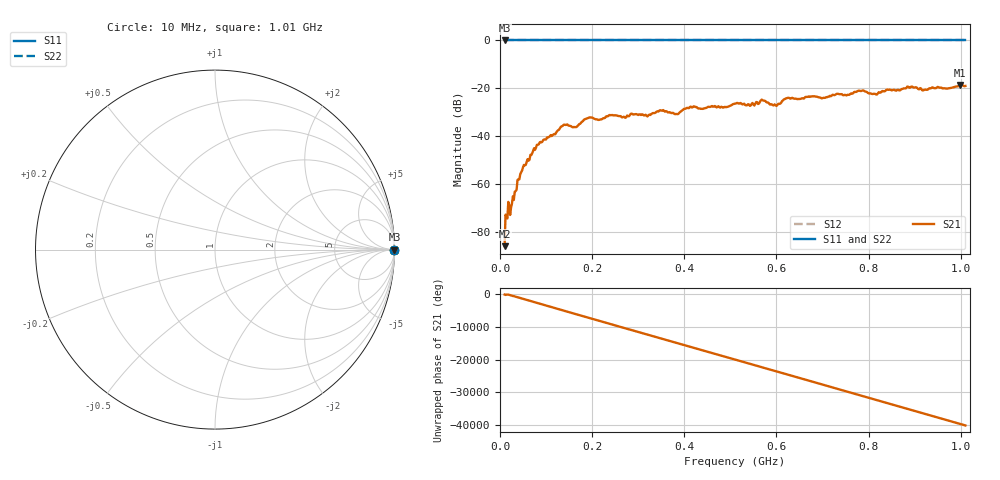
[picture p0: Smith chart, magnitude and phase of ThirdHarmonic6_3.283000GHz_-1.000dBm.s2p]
! 8/17/2025 10:11:26 AM
! C:\ANRITSUVNA\TEMP\TEMP.S2P
! CHANNEL.1
! TR.MEASUREMENT
! RAW.DATA
! RF.CORRECTION.OFF
! AVERAGING.OFF
! IF.BANDWIDTH: 5KHZ
! SWEEPTYPE:  FREQ.SWEEP(Linear)
! Reference Plane Port Info
! PORT:  PORT1  PORT2
! DISTANCE:  0  m  0  m
! TIME:  0  s  0  s
! PHASE.OFFSET:  0  deg.  0  deg.
! LOSS:  0  dB  0  dB
! REF.LOSS:  0  dB  0  dB
! REF.FREQ:  0  Hz  0  Hz
! Power Info
! POWER:  -20  dBm  -20  dBm
! EFF.POWER:  -20  dBm  -20  dBm
! SOURCE.ATTEN:  0  dB  0  dB
! TEST.ATTEN:  0  dB  0  dB
# GHZ S RI R 50.0
! FREQ.GHZ  S11RE  S11IM  S21RE  S21IM  S12RE  S12IM  S22RE  S22IM
!; PortSelection: Port_12
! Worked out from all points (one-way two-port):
!   501 points, 10 MHz to 1.01 GHz, reference 50 ohm
!   highest |S21| = -18.57 dB at 998 MHz (marker M1); lowest = -85.8 dB at 10 MHz (marker M2)
!   lowest |S11| = 0.0 dB at 10 MHz (marker M3)
!   |S11| at or under -10 dB: nowhere
!   |S22| runs from 0.0 to 0.0 dB; largest |S21 - S12| = 1.1
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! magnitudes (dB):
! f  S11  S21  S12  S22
! 10 MHz  0.0  -85.8  0.0  0.0
! 16 MHz  0.0  -74.3  0.0  0.0
! 26 MHz  0.0  -68.0  0.0  0.0
! 48 MHz  0.0  -54.2  0.0  0.0
! 76 MHz  0.0  -45.6  0.0  0.0
! 136 MHz  0.0  -35.6  0.0  0.0
! 162 MHz  0.0  -36.1  0.0  0.0
! 178 MHz  0.0  -33.9  0.0  0.0
! 344 MHz  0.0  -29.6  0.0  0.0
! 384 MHz  0.0  -30.7  0.0  0.0
! 416 MHz  0.0  -28.0  0.0  0.0
! 510 MHz  0.0  -26.4  0.0  0.0
! 540 MHz  0.0  -26.7  0.0  0.0
! 570 MHz  0.0  -24.9  0.0  0.0
! 598 MHz  0.0  -27.0  0.0  0.0
! 622 MHz  0.0  -24.1  0.0  0.0
! 678 MHz  0.0  -23.3  0.0  0.0
! 784 MHz  0.0  -21.1  0.0  0.0
! 814 MHz  0.0  -22.3  0.0  0.0
! 844 MHz  0.0  -20.6  0.0  0.0
! 998 MHz  0.0  -18.6  0.0  0.0
! 1.01 GHz  0.0  -19.0  0.0  0.0
